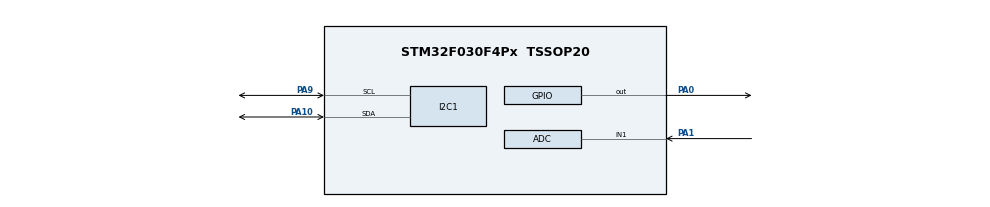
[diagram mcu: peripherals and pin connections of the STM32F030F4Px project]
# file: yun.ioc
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ADC.ContinuousConvMode=ENABLE
ADC.SamplingTime=ADC_SAMPLETIME_239CYCLES_5
I2C1.OwnAddress=0x38 << 1
Mcu.Family=STM32F0
Mcu.Name=STM32F030F4Px
Mcu.Package=TSSOP20
NVIC.ADC1_IRQn=true\:0\:0\:false\:false\:true\:true\:true
NVIC.I2C1_IRQn=true\:0\:0\:false\:false\:true\:true\:true
PA0.Signal=GPIO_Output
PA1.Mode=IN1
PA1.Signal=ADC_IN1
PA10.Mode=I2C
PA10.Signal=I2C1_SDA
PA13.Mode=Serial_Wire
PA13.Signal=SYS_SWDIO
PA14.Mode=Serial_Wire
PA14.Signal=SYS_SWCLK
PA9.Mode=I2C
PA9.Signal=I2C1_SCL
ProjectManager.HeapSize=0x200
ProjectManager.StackSize=0x400
ProjectManager.TargetToolchain=Other Toolchains (GPDSC)
RCC.AHBFreq_Value=48000000
RCC.APB1Freq_Value=48000000
RCC.APB1TimFreq_Value=48000000
RCC.HCLKFreq_Value=48000000
RCC.PLLMUL=RCC_PLL_MUL12
RCC.SYSCLKFreq_VALUE=48000000
RCC.SYSCLKSource=RCC_SYSCLKSOURCE_PLLCLK
board=custom

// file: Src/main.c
/* USER CODE BEGIN Header */
/**
  ******************************************************************************
  * @file           : main.c
  * @brief          : Main program body
  ******************************************************************************
  * @attention
  *
  * <h2><center>&copy; Copyright (c) 2019 STMicroelectronics.
  * All rights reserved.</center></h2>
  *
  * This software component is licensed by ST under BSD 3-Clause license,
  * the "License"; You may not use this file except in compliance with the
  * License. You may obtain a copy of the License at:
  *                        opensource.org/licenses/BSD-3-Clause
  *
  ******************************************************************************
  */
/* USER CODE END Header */

#include "main.h"
#include "adc.h"
#include "i2c.h"
#include "gpio.h"

/* USER CODE BEGIN Includes */
#include "sk6812.h"
#include "i2c_ex/i2c_ex.h"
/* USER CODE END Includes */

/* USER CODE BEGIN PD */
#define YUN_FW_VERSION    0x02  /* read back with command 0xFE; factory firmware NACKs it */

#define CMD_READ_LIGHT    0x00
#define CMD_SET_LED       0x01
#define CMD_SLEEP         0x02
#define CMD_READ_VERSION  0xFE

#define AWAKE_TIMEOUT_MS  500   /* auto-Stop after this much I2C inactivity */
#define BOOT_GRACE_MS     3000  /* stay awake after reset so SWD attach is easy */

/* Give up waiting for a quiet bus on wake after this long (an SHT20
   hold-master measurement can stretch SCL for up to ~85 ms). */
#define BUS_IDLE_WAIT_MS  100
/* SCL and SDA must read high this many consecutive polls (~a few hundred
   microseconds at 64 MHz) to count as an idle bus, so a gap between clock
   pulses of an ongoing transaction doesn't qualify. */
#define BUS_IDLE_POLLS    1000
/* BUSY set with no address match for this long means the flag latched
   spuriously (errata DM00091791) -> recover with a PE toggle. Must stay
   above the SHT20's worst-case ~85 ms clock stretch. */
#define BUSY_STUCK_MS     200
/* USER CODE END PD */

void SystemClock_Config(void);

/* USER CODE BEGIN 0 */
__IO uint32_t uiAdcValue = 0;
__IO uint32_t uiAdcValueBuf[40];
__IO uint8_t ucPt = 0;

__IO uint32_t last_activity = 0;
__IO uint8_t sleep_request = 0;
static uint32_t awake_timeout = BOOT_GRACE_MS;

extern I2C_HandleTypeDef hi2c1;
extern ADC_HandleTypeDef hadc;

/* Called on every I2C address match (weak symbol in i2c_ex.c). */
void i2c1_addr_req_callback(uint8_t TransferDirection) {
  UNUSED(TransferDirection);
  last_activity = HAL_GetTick();
}

/* Block until SCL and SDA both read high for BUS_IDLE_POLLS consecutive
   polls, or BUS_IDLE_WAIT_MS elapsed. Enabling the I2C peripheral in the
   middle of another master's transaction can latch BUSY spuriously
   (errata DM00091791), and we wake on the very edges of such traffic. */
static void wait_bus_idle(void)
{
  uint32_t start = HAL_GetTick();
  uint32_t high_polls = 0;
  while (high_polls < BUS_IDLE_POLLS
      && (HAL_GetTick() - start) < BUS_IDLE_WAIT_MS) {
    if ((GPIOA->IDR & (GPIO_PIN_9 | GPIO_PIN_10))
        == (GPIO_PIN_9 | GPIO_PIN_10)) {
      high_polls++;
    }
    else {
      high_polls = 0;
    }
  }
}

/* Recover from a spuriously latched BUSY flag: toggle PE (errata
   DM00091791) and re-arm the slave state machine from scratch. */
static void i2c_bus_recover(void)
{
  HAL_I2C_DisableListen_IT(&hi2c1);
  __HAL_I2C_DISABLE(&hi2c1);
  /* PE must stay low for at least 3 APB clock cycles */
  for (volatile uint32_t i = 0; i < 16; i++) { }
  wait_bus_idle();
  __HAL_I2C_ENABLE(&hi2c1);
  hi2c1.State = HAL_I2C_STATE_READY;
  hi2c1.Mode = HAL_I2C_MODE_NONE;
  hi2c1.ErrorCode = HAL_I2C_ERROR_NONE;
  HAL_I2C_EnableListen_IT(&hi2c1);
}

static void enter_stop_mode(void)
{
  GPIO_InitTypeDef GPIO_InitStruct = {0};

  HAL_ADC_Stop_IT(&hadc);

  /* Errata DM00091791 (no I2C WUPEN on F030): the I2C peripheral must be
     disabled (PE=0) before Stop, else BUSY can latch and block the bus. */
  HAL_I2C_DisableListen_IT(&hi2c1);
  __HAL_I2C_DISABLE(&hi2c1);

  /* Wake on the falling SDA edge of a START condition. SDA idles high, so
     any bus traffic (ours or the SHT20/BMP280's) wakes us — harmless. */
  GPIO_InitStruct.Pin = GPIO_PIN_10;
  GPIO_InitStruct.Mode = GPIO_MODE_IT_FALLING;
  GPIO_InitStruct.Pull = GPIO_NOPULL; /* the bus has external pull-ups */
  HAL_GPIO_Init(GPIOA, &GPIO_InitStruct);
  __HAL_GPIO_EXTI_CLEAR_IT(GPIO_PIN_10);
  HAL_NVIC_ClearPendingIRQ(EXTI4_15_IRQn);
  HAL_NVIC_EnableIRQ(EXTI4_15_IRQn);

  HAL_SuspendTick();
  HAL_PWR_EnterSTOPMode(PWR_LOWPOWERREGULATOR_ON, PWR_STOPENTRY_WFI);

  /* Awake again: clock is HSI 8 MHz — restore the 64 MHz PLL (the SK6812
     driver's NOP timing depends on it) before anything else. */
  SystemClock_Config();
  HAL_ResumeTick();

  HAL_NVIC_DisableIRQ(EXTI4_15_IRQn);
  HAL_GPIO_DeInit(GPIOA, GPIO_PIN_10); /* also clears the EXTI line config */
  GPIO_InitStruct.Pin = GPIO_PIN_10;
  GPIO_InitStruct.Mode = GPIO_MODE_AF_OD;
  GPIO_InitStruct.Pull = GPIO_PULLUP;
  GPIO_InitStruct.Speed = GPIO_SPEED_FREQ_HIGH;
  GPIO_InitStruct.Alternate = GPIO_AF4_I2C1;
  HAL_GPIO_Init(GPIOA, &GPIO_InitStruct);

  /* We were woken by a START edge, quite possibly of a transaction for
     the SHT20/BMP280: let it finish before enabling our I2C. */
  wait_bus_idle();

  __HAL_I2C_ENABLE(&hi2c1);
  HAL_I2C_EnableListen_IT(&hi2c1);

  HAL_ADC_Start_IT(&hadc);

  awake_timeout = AWAKE_TIMEOUT_MS;
  sleep_request = 0;
  last_activity = HAL_GetTick();
}

void HAL_ADC_ConvCpltCallback(ADC_HandleTypeDef* hadc)
{
  uiAdcValueBuf[ucPt++] = HAL_ADC_GetValue(hadc);
  if (ucPt > 39) {
    uint32_t ave = 0;
    for (uint8_t i = 0; i < 40; i++) {
      ave += uiAdcValueBuf[i];
    }
    uiAdcValue = ave / 40;
    ucPt = 0;
  }
}

void i2c1_receive_callback(uint8_t *rx_data, uint16_t len) {
  last_activity = HAL_GetTick();
  if (rx_data[0] == CMD_SET_LED) {
    if (rx_data[1] > 13 && len == 5) {
      neopixel_set_all_color(rx_data[2] << 8 | rx_data[3] << 16 | rx_data[4]);
    }
    else {
      neopixel_set_color(rx_data[1], rx_data[2] << 8 | rx_data[3] << 16 | rx_data[4]);
    }
    neopixel_show();
  }
  else if (rx_data[0] == CMD_READ_LIGHT) {
    i2c1_set_send_data((uint8_t *)&uiAdcValue, 2);
  }
  else if (rx_data[0] == CMD_SLEEP) {
    sleep_request = 1;
  }
  else if (rx_data[0] == CMD_READ_VERSION) {
    static uint8_t fw_version = YUN_FW_VERSION;
    i2c1_set_send_data(&fw_version, 1);
  }
}
/* USER CODE END 0 */

int main(void)
{

  /* MCU Configuration--------------------------------------------------------*/

  /* Reset of all peripherals, Initializes the Flash interface and the Systick. */
  HAL_Init();

  /* Configure the system clock */
  SystemClock_Config();

  /* Initialize all configured peripherals */
  MX_GPIO_Init();
  MX_ADC_Init();
  MX_I2C1_Init();
  /* USER CODE BEGIN 2 */
  HAL_I2C_EnableListen_IT(&hi2c1);
  HAL_ADC_Start_IT(&hadc);
  sk6812_init(14);
  neopixel_set_all_color(0x000000);
  neopixel_show();
  /* USER CODE END 2 */

  /* Infinite loop */
  /* USER CODE BEGIN WHILE */
  last_activity = HAL_GetTick();
  uint32_t busy_start = last_activity;
  while (1)
  {
    uint32_t now = HAL_GetTick();
    uint8_t busy = (hi2c1.Instance->ISR & I2C_ISR_BUSY) != 0;

    if (!busy) {
      busy_start = now;
    }
    else if ((now - busy_start) >= BUSY_STUCK_MS
        && (now - last_activity) >= BUSY_STUCK_MS) {
      /* BUSY held with no address match for far longer than any real
         transaction (incl. SHT20 clock stretch): the flag latched
         spuriously. Left alone we would NACK everything and never
         sleep -- and holding SDA low traps the ESP32 in download mode
         at its next reset (SDA is its boot-strapping pin). */
      i2c_bus_recover();
      busy_start = HAL_GetTick();
    }

    if ((sleep_request || (now - last_activity) >= awake_timeout) && !busy) {
      /* The BUSY check keeps us from killing a transaction in flight; a
         START that sneaks in after it is missed once and the master retries,
         same as any transaction that arrives while asleep. */
      enter_stop_mode();
      busy_start = HAL_GetTick();
    }
    else {
      __WFI(); /* Sleep (not Stop) until the next interrupt while awake */
    }

    /* USER CODE END WHILE */

  }
}

/* USER CODE BEGIN 4 */
void SystemClock_Config(void) {
  FLASH->ACR &= ~(0x00000017);
  //FLASH->ACR |=  (FLASH_ACR_LATENCY |
  FLASH->ACR |= (2 << FLASH_ACR_LATENCY_Pos | FLASH_ACR_PRFTBE);
  // Configure the PLL to (HSI / 2) * 16 = 64MHz.
  RCC->CFGR &= ~(RCC_CFGR_PLLMUL |
    RCC_CFGR_PLLSRC);
  RCC->CFGR |= (RCC_CFGR_PLLSRC_HSI_DIV2 | RCC_CFGR_PLLMUL16);
  // Turn the PLL on and wait for it to be ready.
  RCC->CR |= (RCC_CR_PLLON);
  while (!(RCC->CR & RCC_CR_PLLRDY)) {};
  // Select the PLL as the system clock source.
  RCC->CFGR &= ~(RCC_CFGR_SW);
  RCC->CFGR |= (RCC_CFGR_SW_PLL);
  while (!(RCC->CFGR & RCC_CFGR_SWS_PLL)) {};
}
/* USER CODE END 4 */

void Error_Handler(void)
{
}

/************************ (C) COPYRIGHT STMicroelectronics *****END OF FILE****/
